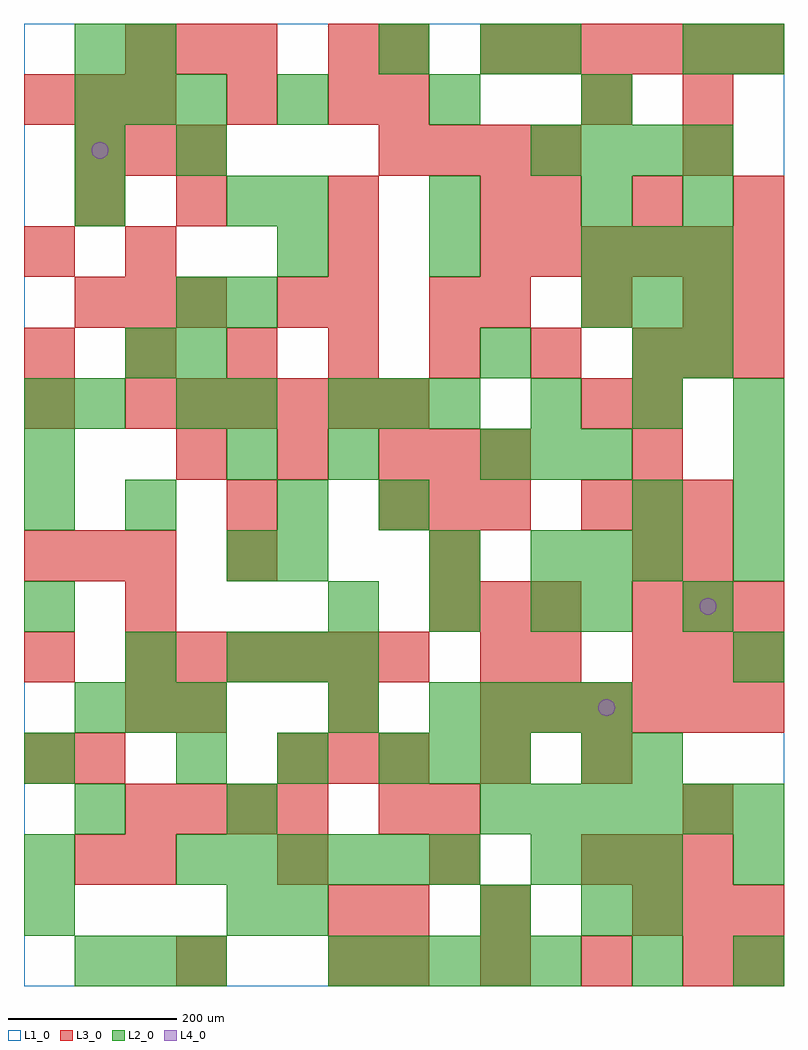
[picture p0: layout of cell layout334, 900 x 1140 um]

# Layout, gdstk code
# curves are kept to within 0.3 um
import gdstk
lib = gdstk.Library(unit=1e-6, precision=1e-09)
def R(c, l, rs):  # rectangles x0, y0, x1, y1
    for r in rs: c.add(gdstk.rectangle(r[:2], r[2:], *l))
def A(c, l, x, y, w, h, nx, ny, dx, dy):  # array of equal rectangles
    R(c, l, [(x+i*dx, y+j*dy, x+i*dx+w, y+j*dy+h) for i in range(nx) for j in range(ny)])
def P(c, l, *ps):  # polygons
    for p in ps: c.add(gdstk.Polygon(p, *l))
L1_0 = (1, 0)
L2_0 = (2, 0)
L3_0 = (3, 0)
L4_0 = (4, 0)

layout334 = lib.new_cell('layout334')
R(layout334, L1_0, [(0,0,900,1140)])
A(layout334, L2_0, 60, 0, 60, 60, 3, 2, 60, 300)
A(layout334, L2_0, 360, 0, 60, 60, 5, 1, 60, 0)
A(layout334, L2_0, 660, 60, 60, 60, 1, 3, 0, 180)
A(layout334, L2_0, 180, 120, 60, 60, 6, 1, 60, 0)
A(layout334, L2_0, 600, 120, 60, 60, 3, 2, 60, 360)
A(layout334, L2_0, 540, 180, 60, 60, 6, 1, 60, 0)
A(layout334, L2_0, 180, 240, 60, 60, 3, 1, 120, 0)
A(layout334, L2_0, 480, 300, 60, 60, 4, 1, 60, 0)
A(layout334, L2_0, 120, 360, 60, 60, 1, 3, 0, 180)
A(layout334, L2_0, 240, 360, 60, 60, 3, 1, 60, 0)
A(layout334, L2_0, 360, 420, 60, 60, 3, 1, 120, 0)
A(layout334, L2_0, 840, 480, 60, 60, 1, 3, 0, 60)
A(layout334, L2_0, 0, 540, 60, 60, 1, 3, 0, 60)
A(layout334, L2_0, 540, 600, 60, 60, 3, 1, 60, 0)
A(layout334, L2_0, 180, 660, 60, 60, 1, 3, 0, 60)
A(layout334, L2_0, 240, 660, 60, 60, 1, 3, 0, 120)
A(layout334, L2_0, 360, 660, 60, 60, 3, 1, 60, 0)
A(layout334, L2_0, 600, 660, 60, 60, 3, 1, 120, 0)
A(layout334, L2_0, 660, 780, 60, 60, 3, 1, 60, 0)
A(layout334, L2_0, 300, 840, 60, 60, 3, 2, 180, 60)
A(layout334, L2_0, 600, 960, 60, 60, 4, 1, 60, 0)
A(layout334, L2_0, 60, 1020, 60, 60, 3, 1, 60, 0)
A(layout334, L2_0, 300, 1020, 60, 60, 3, 1, 180, 0)
R(layout334, L2_0, [(720,0,780,60), (840,0,900,60), (0,60,60,120), (240,60,300,120), (300,60,360,120), (540,60,600,120), (720,60,780,120), (0,120,60,180), (840,120,900,180), (60,180,120,240), (240,180,300,240), (0,240,60,300), (480,240,540,300), (540,240,600,300), (720,240,780,300), (360,300,420,360), (840,360,900,420), (0,420,60,480), (780,420,840,480), (240,480,300,540), (300,480,360,540), (480,480,540,540), (300,540,360,600), (420,540,480,600), (720,540,780,600), (240,600,300,660), (360,600,420,660), (60,660,120,720), (540,720,600,780), (720,720,780,780), (780,720,840,780), (720,840,780,900), (780,840,840,900), (60,900,120,960), (780,900,840,960), (60,960,120,1020), (180,960,240,1020), (60,1080,120,1140), (120,1080,180,1140), (420,1080,480,1140), (540,1080,600,1140), (600,1080,660,1140), (780,1080,840,1140), (840,1080,900,1140)])
A(layout334, L3_0, 420, 0, 60, 60, 4, 1, 120, 0)
A(layout334, L3_0, 720, 60, 60, 60, 3, 2, 60, 300)
A(layout334, L3_0, 120, 120, 60, 60, 4, 1, 180, 0)
A(layout334, L3_0, 120, 180, 60, 60, 4, 1, 60, 0)
A(layout334, L3_0, 300, 240, 60, 60, 3, 1, 60, 0)
A(layout334, L3_0, 180, 300, 60, 60, 3, 2, 180, 600)
A(layout334, L3_0, 600, 300, 60, 60, 5, 1, 60, 0)
A(layout334, L3_0, 120, 360, 60, 60, 6, 2, 60, 300)
A(layout334, L3_0, 480, 420, 60, 60, 3, 1, 60, 0)
A(layout334, L3_0, 720, 420, 60, 60, 3, 1, 60, 0)
A(layout334, L3_0, 0, 480, 60, 60, 3, 2, 60, 540)
A(layout334, L3_0, 240, 480, 60, 60, 3, 1, 240, 0)
A(layout334, L3_0, 780, 480, 60, 60, 1, 3, 0, 240)
A(layout334, L3_0, 420, 540, 60, 60, 3, 1, 60, 0)
A(layout334, L3_0, 660, 540, 60, 60, 3, 1, 60, 0)
A(layout334, L3_0, 180, 600, 60, 60, 3, 1, 120, 0)
A(layout334, L3_0, 0, 720, 60, 60, 7, 1, 120, 0)
A(layout334, L3_0, 60, 780, 60, 60, 3, 2, 60, 180)
A(layout334, L3_0, 540, 780, 60, 60, 3, 1, 120, 0)
A(layout334, L3_0, 540, 840, 60, 60, 6, 2, 60, 240)
A(layout334, L3_0, 600, 900, 60, 60, 3, 1, 120, 0)
A(layout334, L3_0, 420, 960, 60, 60, 4, 1, 60, 0)
A(layout334, L3_0, 120, 1080, 60, 60, 3, 1, 60, 0)
R(layout334, L3_0, [(180,0,240,60), (360,0,420,60), (840,0,900,60), (360,60,420,120), (420,60,480,120), (540,60,600,120), (60,120,120,180), (720,120,780,180), (780,120,840,180), (420,180,480,240), (480,180,540,240), (780,180,840,240), (0,240,60,300), (60,240,120,300), (540,240,600,300), (660,240,720,300), (120,300,180,360), (0,360,60,420), (540,360,600,420), (600,360,660,420), (120,420,180,480), (240,540,300,600), (480,600,540,660), (540,600,600,660), (720,600,780,660), (0,660,60,720), (660,660,720,720), (720,660,780,720), (840,720,900,780), (300,780,360,840), (360,780,420,840), (480,780,540,840), (840,780,900,840), (0,840,60,900), (120,840,180,900), (360,840,420,900), (60,900,120,960), (240,1020,300,1080), (360,1020,420,1080), (420,1020,480,1080), (660,1020,720,1080), (780,1020,840,1080), (360,1080,420,1140), (420,1080,480,1140)])
P(layout334, L4_0, [(100,990),(99.239,993.827),(97.071,997.071),(93.827,999.239),(90,1000),(86.173,999.239),(82.929,997.071),(80.761,993.827),(80,990),(80.761,986.173),(82.929,982.929),(86.173,980.761),(90,980),(93.827,980.761),(97.071,982.929),(99.239,986.173)],
  [(700,330),(699.239,333.827),(697.071,337.071),(693.827,339.239),(690,340),(686.173,339.239),(682.929,337.071),(680.761,333.827),(680,330),(680.761,326.173),(682.929,322.929),(686.173,320.761),(690,320),(693.827,320.761),(697.071,322.929),(699.239,326.173)],
  [(820,450),(819.239,453.827),(817.071,457.071),(813.827,459.239),(810,460),(806.173,459.239),(802.929,457.071),(800.761,453.827),(800,450),(800.761,446.173),(802.929,442.929),(806.173,440.761),(810,440),(813.827,440.761),(817.071,442.929),(819.239,446.173)])

lib.write_gds('layout334.gds')
